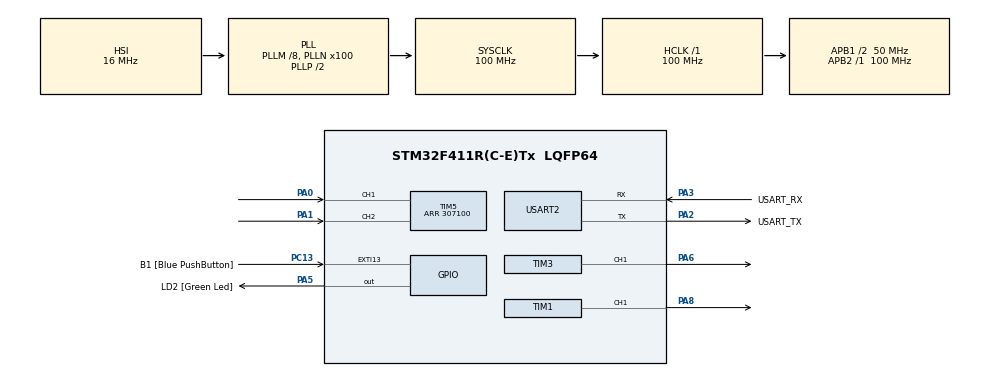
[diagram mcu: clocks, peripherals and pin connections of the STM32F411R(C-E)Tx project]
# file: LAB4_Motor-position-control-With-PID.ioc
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ARM.CMSIS.5.6.0.CMSISJjCORE=true
ARM.CMSIS.5.6.0.CMSISJjDSP=Library
Mcu.Family=STM32F4
Mcu.Name=STM32F411R(C-E)Tx
Mcu.Package=LQFP64
NVIC.PriorityGroup=NVIC_PRIORITYGROUP_0
PA0-WKUP.Signal=S_TIM5_CH1
PA1.Signal=S_TIM5_CH2
PA13.GPIO_Label=TMS
PA13.Signal=SYS_JTMS-SWDIO
PA14.GPIO_Label=TCK
PA14.Signal=SYS_JTCK-SWCLK
PA2.GPIO_Label=USART_TX
PA2.Mode=Asynchronous
PA2.Signal=USART2_TX
PA3.GPIO_Label=USART_RX
PA3.Mode=Asynchronous
PA3.Signal=USART2_RX
PA5.GPIO_Label=LD2 [Green Led]
PA5.Signal=GPIO_Output
PA6.Signal=S_TIM3_CH1
PA8.Signal=S_TIM1_CH1
PB3.GPIO_Label=SWO
PB3.Signal=SYS_JTDO-SWO
PC13-ANTI_TAMP.GPIO_Label=B1 [Blue PushButton]
PC13-ANTI_TAMP.GPIO_ModeDefaultEXTI=GPIO_MODE_IT_FALLING
PC13-ANTI_TAMP.Signal=GPXTI13
PC14-OSC32_IN.Mode=LSE-External-Oscillator
PC14-OSC32_IN.Signal=RCC_OSC32_IN
PC15-OSC32_OUT.Mode=LSE-External-Oscillator
PC15-OSC32_OUT.Signal=RCC_OSC32_OUT
PH0\ -\ OSC_IN.Mode=HSE-External-Clock-Source
PH0\ -\ OSC_IN.Signal=RCC_OSC_IN
PH1\ -\ OSC_OUT.Mode=HSE-External-Clock-Source
PH1\ -\ OSC_OUT.Signal=RCC_OSC_OUT
ProjectManager.HeapSize=0x200
ProjectManager.StackSize=0x400
ProjectManager.TargetToolchain=STM32CubeIDE
RCC.48MHZClocksFreq_Value=50000000
RCC.AHBFreq_Value=100000000
RCC.APB1CLKDivider=RCC_HCLK_DIV2
RCC.APB1Freq_Value=50000000
RCC.APB1TimFreq_Value=100000000
RCC.APB2Freq_Value=100000000
RCC.APB2TimFreq_Value=100000000
RCC.CortexFreq_Value=100000000
RCC.FLatency-AdvancedSettings=FLASH_LATENCY_3
RCC.HCLKFreq_Value=100000000
RCC.HSE_VALUE=8000000
RCC.HSI_VALUE=16000000
RCC.PLLM=8
RCC.PLLN=100
RCC.SYSCLKFreq_VALUE=100000000
RCC.SYSCLKSource=RCC_SYSCLKSOURCE_PLLCLK
RCC.VCOOutputFreq_Value=200000000
SH.S_TIM1_CH1.0=TIM1_CH1,PWM Generation1 CH1
SH.S_TIM3_CH1.0=TIM3_CH1,PWM Generation1 CH1
SH.S_TIM5_CH1.0=TIM5_CH1,Encoder_Interface
SH.S_TIM5_CH2.0=TIM5_CH2,Encoder_Interface
TIM1.Channel-PWM\ Generation1\ CH1=TIM_CHANNEL_1
TIM1.Period=99
TIM1.Prescaler=99
TIM1.Pulse-PWM\ Generation1\ CH1=500
TIM3.Channel-PWM\ Generation1\ CH1=TIM_CHANNEL_1
TIM3.Period=99
TIM3.Prescaler=99
TIM3.Pulse-PWM\ Generation1\ CH1=500
TIM5.EncoderMode=TIM_ENCODERMODE_TI12
TIM5.Period=307100
USART2.VirtualMode=VM_ASYNC
VP_ARM.CMSIS_VS_CMSISJjCORE_5.3.0_5.6.0.Mode=CMSISJjCORE
VP_ARM.CMSIS_VS_CMSISJjDSP_1.7.0_5.6.0.Mode=CMSISJjDSP
board=NUCLEO-F411RE

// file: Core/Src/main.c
/* USER CODE BEGIN Header */
/**
  ******************************************************************************
  * @file           : main.c
  * @brief          : Main program body
  ******************************************************************************
  * @attention
  *
  * Copyright (c) 2023 STMicroelectronics.
  * All rights reserved.
  *
  * This software is licensed under terms that can be found in the LICENSE file
  * in the root directory of this software component.
  * If no LICENSE file comes with this software, it is provided AS-IS.
  *
  ******************************************************************************
  */
/* USER CODE END Header */
#include "main.h"

/* USER CODE BEGIN Includes */
#include "arm_math.h"
/* USER CODE END Includes */

TIM_HandleTypeDef htim1;
TIM_HandleTypeDef htim3;
TIM_HandleTypeDef htim5;

UART_HandleTypeDef huart2;

/* USER CODE BEGIN PV */
uint32_t QEIReadRaw = 0;
int16_t MotorSetDuty = 50;
///////////PID
float degree = 0;
float Read_degree = 0;
float setposition = 0;
float Vfeedback = 0;
double Gain_error, Acc_error, diff_error, last_error;
/* USER CODE END PV */

void SystemClock_Config(void);
static void MX_GPIO_Init(void);
static void MX_USART2_UART_Init(void);
static void MX_TIM5_Init(void);
static void MX_TIM1_Init(void);
static void MX_TIM3_Init(void);
/* USER CODE BEGIN PFP */
void controll_motor(int16_t PWM_Motor);
double pid(int32_t error);
/* USER CODE END PFP */

int main(void)
{

  /* MCU Configuration--------------------------------------------------------*/

  /* Reset of all peripherals, Initializes the Flash interface and the Systick. */
  HAL_Init();

  /* Configure the system clock */
  SystemClock_Config();

  /* Initialize all configured peripherals */
  MX_GPIO_Init();
  MX_USART2_UART_Init();
  MX_TIM5_Init();
  MX_TIM1_Init();
  MX_TIM3_Init();
  /* USER CODE BEGIN 2 */
  HAL_TIM_Base_Start(&htim1);
  HAL_TIM_PWM_Start(&htim1, TIM_CHANNEL_1);
  HAL_TIM_Base_Start(&htim3);
  HAL_TIM_PWM_Start(&htim3, TIM_CHANNEL_1);

  HAL_TIM_Encoder_Start(&htim5, TIM_CHANNEL_1|TIM_CHANNEL_2);
  /* USER CODE END 2 */

  /* Infinite loop */
  while (1)
  {

    /* USER CODE BEGIN 3 */
	  static uint32_t timestamp = 0;
	  if(HAL_GetTick() >= timestamp)
	  {
	  	timestamp = HAL_GetTick() + 50;
	  	QEIReadRaw = __HAL_TIM_GET_COUNTER(&htim5);
	  	setposition = degree * (3071 / 360);
	  	Vfeedback = pid(setposition - QEIReadRaw);
	  	if(Vfeedback > 100)	{Vfeedback = 100;}
	  	else if(Vfeedback < -100)	{Vfeedback = -100;}
	  	MotorSetDuty = Vfeedback;
	  	controll_motor(MotorSetDuty);
	  	Read_degree = QEIReadRaw / (3071 / 360);
	  }
  }
  /* USER CODE END 3 */
}

void SystemClock_Config(void)
{
  RCC_OscInitTypeDef RCC_OscInitStruct = {0};
  RCC_ClkInitTypeDef RCC_ClkInitStruct = {0};

  /** Configure the main internal regulator output voltage
  */
  __HAL_RCC_PWR_CLK_ENABLE();
  __HAL_PWR_VOLTAGESCALING_CONFIG(PWR_REGULATOR_VOLTAGE_SCALE1);

  /** Initializes the RCC Oscillators according to the specified parameters
  * in the RCC_OscInitTypeDef structure.
  */
  RCC_OscInitStruct.OscillatorType = RCC_OSCILLATORTYPE_HSI;
  RCC_OscInitStruct.HSIState = RCC_HSI_ON;
  RCC_OscInitStruct.HSICalibrationValue = RCC_HSICALIBRATION_DEFAULT;
  RCC_OscInitStruct.PLL.PLLState = RCC_PLL_ON;
  RCC_OscInitStruct.PLL.PLLSource = RCC_PLLSOURCE_HSI;
  RCC_OscInitStruct.PLL.PLLM = 8;
  RCC_OscInitStruct.PLL.PLLN = 100;
  RCC_OscInitStruct.PLL.PLLP = RCC_PLLP_DIV2;
  RCC_OscInitStruct.PLL.PLLQ = 4;
  if (HAL_RCC_OscConfig(&RCC_OscInitStruct) != HAL_OK)
  {
    Error_Handler();
  }

  /** Initializes the CPU, AHB and APB buses clocks
  */
  RCC_ClkInitStruct.ClockType = RCC_CLOCKTYPE_HCLK|RCC_CLOCKTYPE_SYSCLK
                              |RCC_CLOCKTYPE_PCLK1|RCC_CLOCKTYPE_PCLK2;
  RCC_ClkInitStruct.SYSCLKSource = RCC_SYSCLKSOURCE_PLLCLK;
  RCC_ClkInitStruct.AHBCLKDivider = RCC_SYSCLK_DIV1;
  RCC_ClkInitStruct.APB1CLKDivider = RCC_HCLK_DIV2;
  RCC_ClkInitStruct.APB2CLKDivider = RCC_HCLK_DIV1;

  if (HAL_RCC_ClockConfig(&RCC_ClkInitStruct, FLASH_LATENCY_3) != HAL_OK)
  {
    Error_Handler();
  }
}

static void MX_TIM1_Init(void)
{

  TIM_MasterConfigTypeDef sMasterConfig = {0};
  TIM_OC_InitTypeDef sConfigOC = {0};
  TIM_BreakDeadTimeConfigTypeDef sBreakDeadTimeConfig = {0};

  htim1.Instance = TIM1;
  htim1.Init.Prescaler = 99;
  htim1.Init.CounterMode = TIM_COUNTERMODE_UP;
  htim1.Init.Period = 99;
  htim1.Init.ClockDivision = TIM_CLOCKDIVISION_DIV1;
  htim1.Init.RepetitionCounter = 0;
  htim1.Init.AutoReloadPreload = TIM_AUTORELOAD_PRELOAD_DISABLE;
  if (HAL_TIM_PWM_Init(&htim1) != HAL_OK)
  {
    Error_Handler();
  }
  sMasterConfig.MasterOutputTrigger = TIM_TRGO_RESET;
  sMasterConfig.MasterSlaveMode = TIM_MASTERSLAVEMODE_DISABLE;
  if (HAL_TIMEx_MasterConfigSynchronization(&htim1, &sMasterConfig) != HAL_OK)
  {
    Error_Handler();
  }
  sConfigOC.OCMode = TIM_OCMODE_PWM1;
  sConfigOC.Pulse = 500;
  sConfigOC.OCPolarity = TIM_OCPOLARITY_HIGH;
  sConfigOC.OCNPolarity = TIM_OCNPOLARITY_HIGH;
  sConfigOC.OCFastMode = TIM_OCFAST_DISABLE;
  sConfigOC.OCIdleState = TIM_OCIDLESTATE_RESET;
  sConfigOC.OCNIdleState = TIM_OCNIDLESTATE_RESET;
  if (HAL_TIM_PWM_ConfigChannel(&htim1, &sConfigOC, TIM_CHANNEL_1) != HAL_OK)
  {
    Error_Handler();
  }
  sBreakDeadTimeConfig.OffStateRunMode = TIM_OSSR_DISABLE;
  sBreakDeadTimeConfig.OffStateIDLEMode = TIM_OSSI_DISABLE;
  sBreakDeadTimeConfig.LockLevel = TIM_LOCKLEVEL_OFF;
  sBreakDeadTimeConfig.DeadTime = 0;
  sBreakDeadTimeConfig.BreakState = TIM_BREAK_DISABLE;
  sBreakDeadTimeConfig.BreakPolarity = TIM_BREAKPOLARITY_HIGH;
  sBreakDeadTimeConfig.AutomaticOutput = TIM_AUTOMATICOUTPUT_DISABLE;
  if (HAL_TIMEx_ConfigBreakDeadTime(&htim1, &sBreakDeadTimeConfig) != HAL_OK)
  {
    Error_Handler();
  }
  HAL_TIM_MspPostInit(&htim1);

}

static void MX_TIM3_Init(void)
{

  TIM_MasterConfigTypeDef sMasterConfig = {0};
  TIM_OC_InitTypeDef sConfigOC = {0};

  htim3.Instance = TIM3;
  htim3.Init.Prescaler = 99;
  htim3.Init.CounterMode = TIM_COUNTERMODE_UP;
  htim3.Init.Period = 99;
  htim3.Init.ClockDivision = TIM_CLOCKDIVISION_DIV1;
  htim3.Init.AutoReloadPreload = TIM_AUTORELOAD_PRELOAD_DISABLE;
  if (HAL_TIM_PWM_Init(&htim3) != HAL_OK)
  {
    Error_Handler();
  }
  sMasterConfig.MasterOutputTrigger = TIM_TRGO_RESET;
  sMasterConfig.MasterSlaveMode = TIM_MASTERSLAVEMODE_DISABLE;
  if (HAL_TIMEx_MasterConfigSynchronization(&htim3, &sMasterConfig) != HAL_OK)
  {
    Error_Handler();
  }
  sConfigOC.OCMode = TIM_OCMODE_PWM1;
  sConfigOC.Pulse = 500;
  sConfigOC.OCPolarity = TIM_OCPOLARITY_HIGH;
  sConfigOC.OCFastMode = TIM_OCFAST_DISABLE;
  if (HAL_TIM_PWM_ConfigChannel(&htim3, &sConfigOC, TIM_CHANNEL_1) != HAL_OK)
  {
    Error_Handler();
  }
  HAL_TIM_MspPostInit(&htim3);

}

static void MX_TIM5_Init(void)
{

  TIM_Encoder_InitTypeDef sConfig = {0};
  TIM_MasterConfigTypeDef sMasterConfig = {0};

  htim5.Instance = TIM5;
  htim5.Init.Prescaler = 0;
  htim5.Init.CounterMode = TIM_COUNTERMODE_UP;
  htim5.Init.Period = 307100;
  htim5.Init.ClockDivision = TIM_CLOCKDIVISION_DIV1;
  htim5.Init.AutoReloadPreload = TIM_AUTORELOAD_PRELOAD_DISABLE;
  sConfig.EncoderMode = TIM_ENCODERMODE_TI12;
  sConfig.IC1Polarity = TIM_ICPOLARITY_RISING;
  sConfig.IC1Selection = TIM_ICSELECTION_DIRECTTI;
  sConfig.IC1Prescaler = TIM_ICPSC_DIV1;
  sConfig.IC1Filter = 0;
  sConfig.IC2Polarity = TIM_ICPOLARITY_RISING;
  sConfig.IC2Selection = TIM_ICSELECTION_DIRECTTI;
  sConfig.IC2Prescaler = TIM_ICPSC_DIV1;
  sConfig.IC2Filter = 0;
  if (HAL_TIM_Encoder_Init(&htim5, &sConfig) != HAL_OK)
  {
    Error_Handler();
  }
  sMasterConfig.MasterOutputTrigger = TIM_TRGO_RESET;
  sMasterConfig.MasterSlaveMode = TIM_MASTERSLAVEMODE_DISABLE;
  if (HAL_TIMEx_MasterConfigSynchronization(&htim5, &sMasterConfig) != HAL_OK)
  {
    Error_Handler();
  }

}

static void MX_USART2_UART_Init(void)
{

  huart2.Instance = USART2;
  huart2.Init.BaudRate = 115200;
  huart2.Init.WordLength = UART_WORDLENGTH_8B;
  huart2.Init.StopBits = UART_STOPBITS_1;
  huart2.Init.Parity = UART_PARITY_NONE;
  huart2.Init.Mode = UART_MODE_TX_RX;
  huart2.Init.HwFlowCtl = UART_HWCONTROL_NONE;
  huart2.Init.OverSampling = UART_OVERSAMPLING_16;
  if (HAL_UART_Init(&huart2) != HAL_OK)
  {
    Error_Handler();
  }

}

static void MX_GPIO_Init(void)
{
  GPIO_InitTypeDef GPIO_InitStruct = {0};

  /* GPIO Ports Clock Enable */
  __HAL_RCC_GPIOC_CLK_ENABLE();
  __HAL_RCC_GPIOH_CLK_ENABLE();
  __HAL_RCC_GPIOA_CLK_ENABLE();
  __HAL_RCC_GPIOB_CLK_ENABLE();

  /*Configure GPIO pin Output Level */
  HAL_GPIO_WritePin(LD2_GPIO_Port, LD2_Pin, GPIO_PIN_RESET);

  /*Configure GPIO pin : B1_Pin */
  GPIO_InitStruct.Pin = B1_Pin;
  GPIO_InitStruct.Mode = GPIO_MODE_IT_FALLING;
  GPIO_InitStruct.Pull = GPIO_NOPULL;
  HAL_GPIO_Init(B1_GPIO_Port, &GPIO_InitStruct);

  /*Configure GPIO pin : LD2_Pin */
  GPIO_InitStruct.Pin = LD2_Pin;
  GPIO_InitStruct.Mode = GPIO_MODE_OUTPUT_PP;
  GPIO_InitStruct.Pull = GPIO_NOPULL;
  GPIO_InitStruct.Speed = GPIO_SPEED_FREQ_LOW;
  HAL_GPIO_Init(LD2_GPIO_Port, &GPIO_InitStruct);

}

/* USER CODE BEGIN 4 */
void controll_motor(int16_t PWM_Motor)
{
	if(PWM_Motor == 0)
	{
		////Break Motor
		__HAL_TIM_SET_COMPARE(&htim1,TIM_CHANNEL_1,0);
		__HAL_TIM_SET_COMPARE(&htim3,TIM_CHANNEL_1,0);
	}
	else if (PWM_Motor > 0)
	{
		__HAL_TIM_SET_COMPARE(&htim3,TIM_CHANNEL_1,0);
		__HAL_TIM_SET_COMPARE(&htim1,TIM_CHANNEL_1,PWM_Motor);
	}
	else if (PWM_Motor < 0)
	{
		__HAL_TIM_SET_COMPARE(&htim1,TIM_CHANNEL_1,0);
		__HAL_TIM_SET_COMPARE(&htim3,TIM_CHANNEL_1,-PWM_Motor);
	}
}
double pid(int32_t error){
    double Kp = 1.4;
    double Ki = 0.00001;
    double Kd = 0.8;

    double Ans;

    Gain_error = error;
    Acc_error += error * 0.01;
    diff_error = (error - last_error) * 0.01;

    Ans = (Kp * Gain_error) + (Ki * Acc_error) + (Kd * diff_error);
    last_error = error;
    return Ans;
}
/* USER CODE END 4 */

void Error_Handler(void)
{
  __disable_irq();
  while (1)
  {
  }
}
